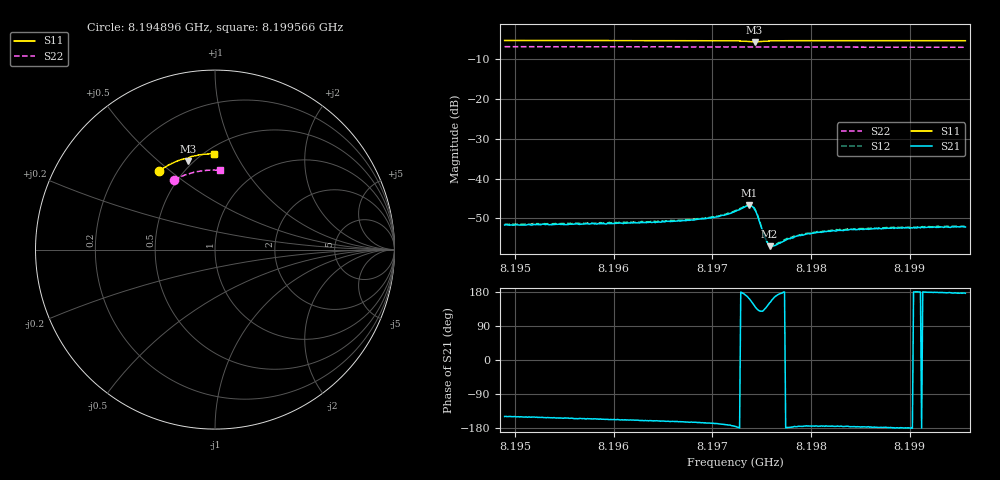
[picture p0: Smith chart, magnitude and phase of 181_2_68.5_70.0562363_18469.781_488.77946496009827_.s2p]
#  HZ  S  RI  R  50.00
! Rohde & Schwarz Vector Network Analyzer
! Rohde-Schwarz,ZNB20-2Port,1311601062101988,3.16
! Created: UTC 3/20/2024, 5:11:50 PM
! freq[Hz]  re:S11  im:S11  re:S21  im:S21  re:S12  im:S12  re:S22  im:S22
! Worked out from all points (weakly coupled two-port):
!   401 points, 8.194896 GHz to 8.199566 GHz, reference 50 ohm
!   highest |S21| = -46.73 dB at 8.197371 GHz (marker M1); lowest = -56.9 dB at 8.197581 GHz (marker M2)
!   lowest |S11| = -5.7 dB at 8.197429 GHz (marker M3), VSWR 3.13, Z = 23.4 + j31.6 ohm
!   |S11| at or under -10 dB: nowhere
!   |S22| runs from -7.1 to -6.9 dB; largest |S21 - S12| = 0.00024
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8.1948957e9  -0.3146 0.4362  -0.00225 -0.00135  -0.00236 -0.00132  -0.2285 0.3875
8.195678e9  -0.2678 0.4658  -0.00244 -0.00115  -0.00254 -0.00109  -0.1893 0.4067
8.1964603e9  -0.2174 0.4905  -0.00271 -0.000947  -0.00281 -0.000851  -0.148 0.4222
8.1967872e9  -0.1952 0.4991  -0.00291 -0.000855  -0.00298 -0.000714  -0.1304 0.4273
8.1969974e9  -0.18 0.504  -0.00316 -0.000744  -0.00327 -0.000621  -0.1188 0.4304
8.1971375e9  -0.1687 0.5066  -0.00349 -0.000561  -0.00356 -0.000442  -0.1111 0.4321
8.1972309e9  -0.1601 0.5074  -0.00386 -0.000333  -0.00394 -0.000177  -0.1058 0.4334
8.197371e9  -0.1472 0.5004  -0.0044 0.00136  -0.00439 0.00153  -0.0981 0.4345
8.197406e9  -0.1475 0.4961  -0.0039 0.00217  -0.0039 0.00236  -0.0962 0.4347
8.1974294e9  -0.1497 0.4941  -0.00326 0.00251  -0.00324 0.00271  -0.0951 0.4349
8.1974644e9  -0.154 0.495  -0.0022 0.00245  -0.00212 0.0026  -0.0933 0.4353
8.1975344e9  -0.1553 0.5035  -0.00129 0.00129  -0.00122 0.00138  -0.0895 0.4362
8.1975578e9  -0.154 0.5059  -0.00125 0.000961  -0.00122 0.00105  -0.0881 0.4366
8.1975811e9  -0.1523 0.5079  -0.00124 0.000702  -0.00126 0.000796  -0.0871 0.4368
8.1976045e9  -0.1503 0.5096  -0.00134 0.000535  -0.00132 0.000634  -0.0856 0.4371
8.1976278e9  -0.1484 0.511  -0.0014 0.000368  -0.00139 0.000437  -0.0844 0.4372
8.197803e9  -0.1343 0.5172  -0.00182 -8.97e-05  -0.00185 -5.3e-05  -0.0745 0.4387
8.1978614e9  -0.1297 0.5188  -0.00191 -0.000141  -0.00191 -6.33e-05  -0.0711 0.4393
8.1980131e9  -0.1183 0.5216  -0.00205 -0.000208  -0.00215 -0.000154  -0.0625 0.4404
8.19827e9  -0.0997 0.5256  -0.00224 -0.000223  -0.00228 -9.89e-05  -0.0482 0.4419
8.1987954e9  -0.0622 0.5308  -0.00239 -5.62e-05  -0.00241 5.37e-05  -0.0185 0.443
8.199566e9  -0.00738 0.5336  -0.00247 0.000166  -0.00253 0.000281  0.0254 0.4411
